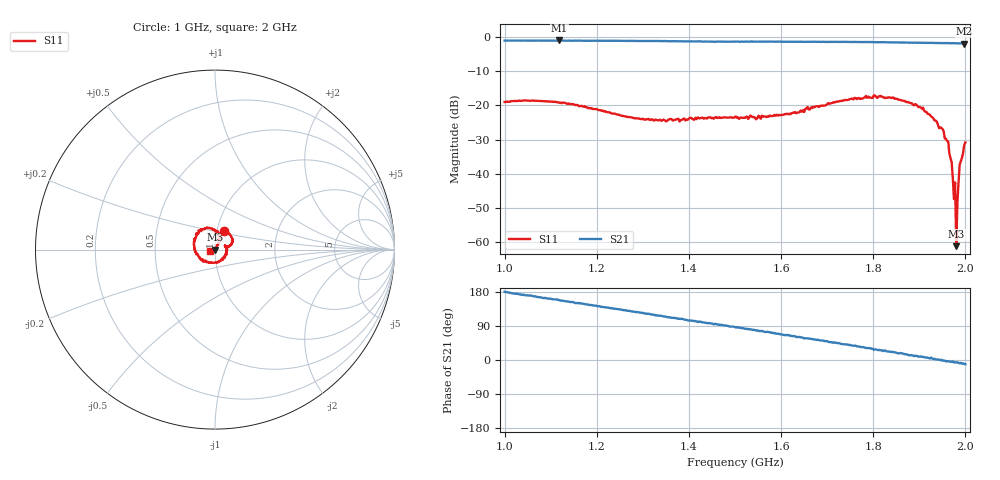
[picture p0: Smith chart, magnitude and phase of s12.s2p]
# HZ S RI R 50
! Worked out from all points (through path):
!   404 points, 1 GHz to 2 GHz, reference 50 ohm
!   highest |S21| = -0.92 dB at 1.119 GHz (marker M1); lowest = -1.8 dB at 1.998 GHz (marker M2)
!   group delay of S21, straight-line fit = 526 ps
!   lowest |S11| = -61.3 dB at 1.98 GHz (marker M3), VSWR 1.00, Z = 50 - j0.0841 ohm
!   |S11| at or under -10 dB: start of sweep to end of sweep
!   S12 and S22 are empty: the file has one direction only
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1e9  0.05 0.101  -0.8959 0.00167  0 0  0 0
1.119107e9  0.0953 0.0544  -0.8344 0.3372  0 0  0 0
1.168735e9  0.0923 0.0313  -0.7652 0.4618  0 0  0 0
1.334988e9  0.0568 0.021  -0.4058 0.7847  0 0  0 0
1.501241e9  0.0625 -0.0297  0.0599 0.8598  0 0  0 0
1.598015e9  0.00109 -0.0716  0.3284 0.8005  0 0  0 0
1.667494e9  -0.0742 -0.0538  0.4859 0.7052  0 0  0 0
1.756824e9  -0.1154 0.0416  0.6783 0.5186  0 0  0 0
1.833747e9  -0.057 0.1182  0.7775 0.3205  0 0  0 0
1.903226e9  0.0189 0.0912  0.8197 0.1345  0 0  0 0
1.947891e9  0.0219 0.0417  0.8233 0.00869  0 0  0 0
1.957817e9  0.0172 0.0275  0.8207 -0.0555  0 0  0 0
1.965261e9  0.00978 0.017  0.8202 -0.0563  0 0  0 0
1.972705e9  0.006 0.00617  0.8216 -0.051  0 0  0 0
1.975186e9  0.00207 0.00369  0.8141 -0.0922  0 0  0 0
1.977668e9  -0.00155 0.00729  0.8157 -0.0863  0 0  0 0
1.980149e9  -0.000192 -0.000841  0.8109 -0.0963  0 0  0 0
1.985112e9  -0.00715 -0.00184  0.8077 -0.1064  0 0  0 0
1.987593e9  -0.0134 -0.0023  0.8044 -0.1227  0 0  0 0
1.990075e9  -0.0146 -0.00435  0.8047 -0.1071  0 0  0 0
1.997519e9  -0.0233 -0.0122  0.7965 -0.1514  0 0  0 0
2e9  -0.0281 -0.00543  0.798 -0.1542  0 0  0 0
